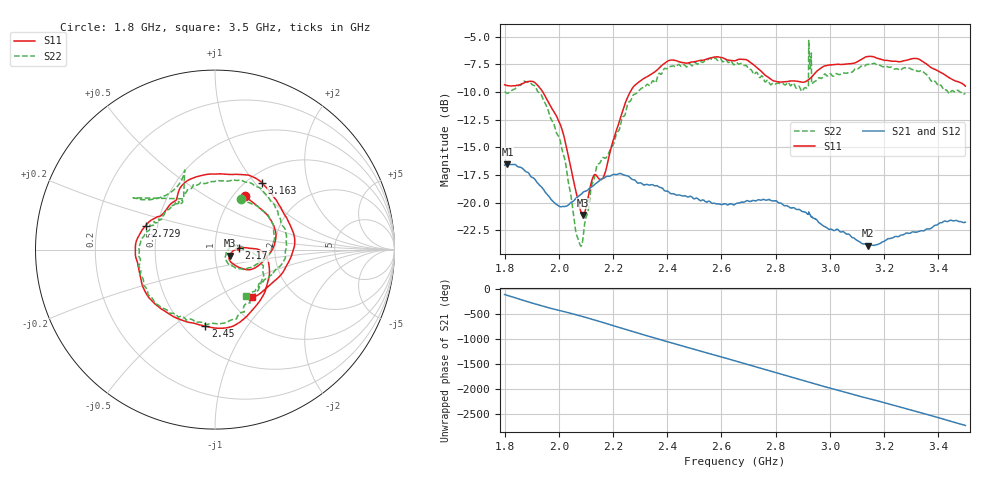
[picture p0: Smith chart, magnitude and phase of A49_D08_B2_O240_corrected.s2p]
! Created with skrf 1.9.0 (http://scikit-rf.org).
# Hz S RI R 50.0
!freq ReS11 ImS11 ReS21 ImS21 ReS12 ImS12 ReS22 ImS22
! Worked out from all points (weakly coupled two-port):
!   1601 points, 1.8 GHz to 3.5 GHz, reference 50 ohm
!   highest |S21| = -16.54 dB at 1.811 GHz (marker M1); lowest = -23.9 dB at 3.142 GHz (marker M2)
!   lowest |S11| = -21.1 dB at 2.089 GHz (marker M3), VSWR 1.19, Z = 58.7 - j3.99 ohm
!   |S11| at or under -10 dB: 1.941 GHz to 2.263 GHz (322.7 MHz wide, 15.4 % of centre)
!   |S22| runs from -23.9 to -5.3 dB; largest |S21 - S12| = 0.0027
!   S11 on the Smith chart (normalised r, x): 1.8 GHz: 1.13, +0.76; 2.17 GHz: 1.31, +0.02; 2.45 GHz: 0.63, -0.66; 2.729 GHz: 0.43, +0.14; 3.163 GHz: 1.16, +1.09; 3.5 GHz: 1.27, -0.76
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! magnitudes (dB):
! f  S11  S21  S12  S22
! 1.8 GHz  -9.3  -16.6  -16.6  -10.0
! 1.811 GHz  -9.4  -16.5  -16.6  -10.1
! 1.888 GHz  -9.1  -17.3  -17.4  -9.1
! 1.94 GHz  -10.0  -18.7  -18.7  -10.6
! 2.011 GHz  -13.4  -20.4  -20.4  -15.2
! 2.063 GHz  -19.1  -19.6  -19.6  -22.7
! 2.084 GHz  -21.0  -19.2  -19.2  -23.9
! 2.089 GHz  -21.1  -19.1  -19.1  -23.3
! 2.137 GHz  -17.5  -18.3  -18.3  -17.0
! 2.17 GHz  -17.4  -17.7  -17.8  -16.0
! 2.261 GHz  -10.1  -17.7  -17.7  -10.9
! 2.367 GHz  -7.9  -18.5  -18.5  -8.4
! 2.45 GHz  -7.3  -19.4  -19.4  -7.7
! 2.65 GHz  -7.2  -20.1  -20.1  -7.5
! 2.729 GHz  -7.8  -19.8  -19.9  -8.2
! 2.899 GHz  -9.1  -20.8  -20.8  -9.9
! 2.934 GHz  -8.6  -21.3  -21.3  -9.3
! 3.142 GHz  -6.8  -23.9  -23.8  -7.5
! 3.163 GHz  -6.8  -23.9  -23.8  -7.4
! 3.217 GHz  -7.2  -23.3  -23.3  -7.8
! 3.326 GHz  -7.0  -22.6  -22.6  -8.1
! 3.5 GHz  -9.5  -21.8  -21.8  -10.1
